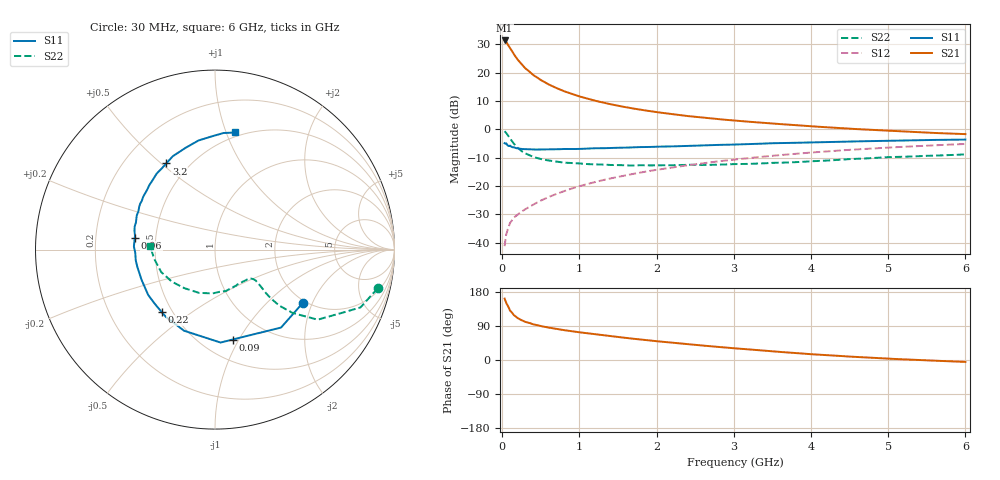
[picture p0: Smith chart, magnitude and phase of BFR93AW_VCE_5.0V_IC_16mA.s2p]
! Infineon Technologies  Discrete & RF Semiconductors
! BFR93AW
! VCE =  5.0 V,  IC =  16 mA
! Common Emitter S-Parameters:  Nov 2015
# GHz  S  MA  R  50
!  f  S11  S21  S12  S22
! GHz  MAG  ANG  MAG  ANG  MAG  ANG  MAG  ANG
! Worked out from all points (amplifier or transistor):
!   206 points, 30 MHz to 6 GHz, reference 50 ohm
!   highest |S21| = 31.4 dB at 30 MHz (marker M1)
!   |S21| within 3 dB of that: start of sweep to 108.5 MHz
!   unconditionally stable (mu >= 1): 612.4 MHz to 2.154 GHz
!   at 200 MHz: K = 0.64, MSG = 27.3 dB, |S12| = -30.1 dB
!   at 1.56 GHz: K = 1.05, MAG = 10.9 dB, |S12| = -16.4 dB
!   at 6 GHz: K = 0.90, MSG = 1.7 dB, |S12| = -5.1 dB
!   S11 on the Smith chart (normalised r, x): 30 MHz: 1.93, -1.70; 90 MHz: 0.69, -0.94; 220 MHz: 0.44, -0.38; 960 MHz: 0.38, +0.06; 3.2 GHz: 0.38, +0.52; 6 GHz: 0.46, +1.08
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0.03  0.5724 -31.2  37.23 162.0  0.0087 77.1  0.9317 -13.4
0.05  0.5693 -49.7  35.19 150.4  0.0138 70.1  0.8722 -21.7
0.09  0.5106 -78.9  28.71 135.3  0.0206 62.1  0.7255 -31.3
0.1  0.5187 -86.6  27.5 130.5  0.0223 60.9  0.6928 -34.3
0.15  0.4837 -110.9  21.2 118.3  0.0277 57.4  0.559 -39.2
0.2  0.4644 -126.0  17.02 110.4  0.0314 57.3  0.4729 -41.1
0.22  0.457 -130.6  15.82 108.4  0.033 57.6  0.4493 -41.1
0.26  0.4507 -139.4  13.64 104.0  0.0362 58.3  0.4064 -41.0
0.3  0.4498 -145.9  11.95 100.5  0.0392 59.3  0.377 -40.6
0.4  0.4425 -157.9  9.153 94.2  0.0469 62.5  0.3275 -38.8
0.5  0.4432 -166.4  7.433 89.3  0.0555 64.6  0.2984 -37.7
0.6  0.4456 -172.4  6.236 85.5  0.064 66.3  0.2826 -37.2
0.7  0.4446 -177.7  5.392 82.0  0.0726 67.4  0.2714 -37.5
0.96  0.4516 171.7  3.987 74.3  0.096 69.0  0.2529 -39.8
1.04  0.4555 168.8  3.693 72.1  0.1031 69.1  0.2484 -41.4
1.5  0.4757 156.3  2.614 60.7  0.1454 68.5  0.2356 -51.3
2.02  0.4971 143.3  2.006 49.2  0.1959 65.8  0.2332 -65.5
3.1  0.5458 121.3  1.401 29.5  0.3025 57.2  0.2451 -96.5
3.2  0.5513 119.5  1.367 27.9  0.3126 56.2  0.2467 -100.1
4.1  0.5946 104.5  1.115 14.1  0.4 47.0  0.2776 -131.5
5.1  0.6337 90.7  0.934 2.6  0.4865 36.0  0.3268 -160.3
6  0.6623 80.1  0.827 -5.1  0.5549 26.2  0.3632 176.6
